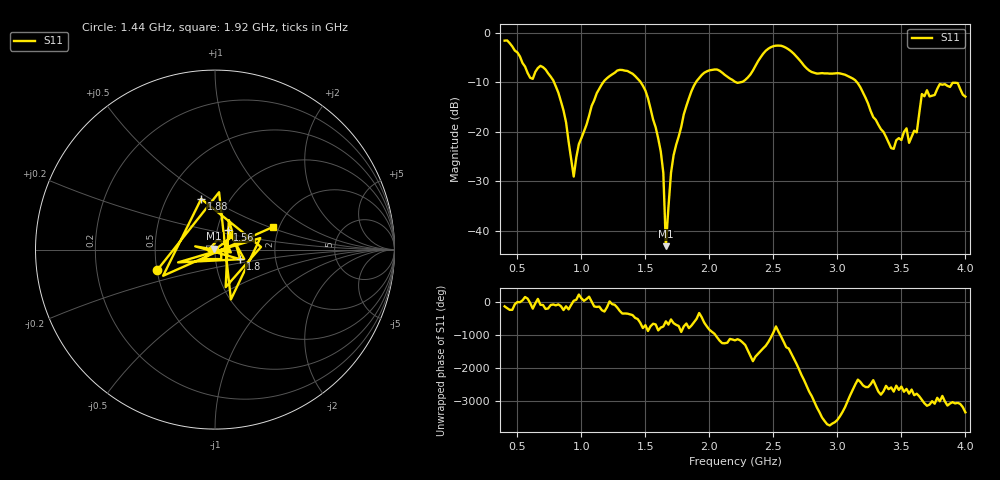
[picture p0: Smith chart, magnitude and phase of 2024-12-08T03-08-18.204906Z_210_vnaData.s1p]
!Created with skrf (http://scikit-rf.org).
# Hz S RI R 50.0
!freq ReS11 ImS11
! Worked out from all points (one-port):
!   181 points, 400 MHz to 4 GHz, reference 50 ohm
!   lowest |S11| = -43.1 dB at 1.66 GHz (marker M1), VSWR 1.01, Z = 49.5 + j0.524 ohm
!   |S11| at or under -10 dB: 786 MHz to 1.171 GHz (385.5 MHz wide, 39.4 % of centre); 1.463 GHz to 1.895 GHz (432.5 MHz wide, 25.8 % of centre); 3.152 GHz to end of sweep (the widest 3 of 4)
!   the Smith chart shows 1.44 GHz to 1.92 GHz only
!   S11 on the Smith chart (normalised r, x): 1.44 GHz: 0.50, -0.13; 1.56 GHz: 1.12, +0.26; 1.8 GHz: 1.32, -0.14; 1.88 GHz: 0.74, +0.46; 1.92 GHz: 1.86, +0.54
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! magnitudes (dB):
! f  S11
! 400 MHz  -1.6
! 600 MHz  -9.1
! 720 MHz  -7.4
! 860 MHz  -15.7
! 940 MHz  -29.1
! 980 MHz  -22.5
! 1.12 GHz  -12.2
! 1.3 GHz  -7.5
! 1.44 GHz  -9.3
! 1.56 GHz  -17.5
! 1.64 GHz  -28.3
! 1.66 GHz  -43.1
! 1.7 GHz  -28.3
! 1.76 GHz  -21.0
! 1.8 GHz  -16.5
! 1.88 GHz  -10.7
! 1.92 GHz  -9.2
! 2.2 GHz  -9.9
! 2.48 GHz  -2.9
! 2.66 GHz  -4.3
! 3.1 GHz  -9.0
! 3.42 GHz  -23.3
! 3.54 GHz  -19.3
! 3.56 GHz  -22.2
! 3.62 GHz  -20.1
! 3.66 GHz  -12.4
! 3.92 GHz  -10.1
! 4 GHz  -12.9
